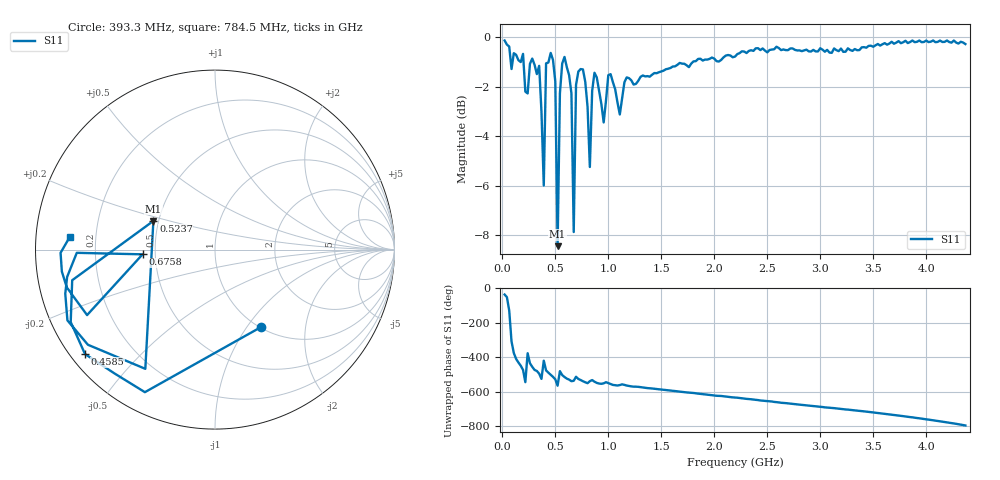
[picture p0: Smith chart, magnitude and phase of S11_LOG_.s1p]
!Keysight Technologies N9923A: A.08.19
!Date: Thursday, 16 January 2020 11:30:00
!TimeZone: (GMT-03:00) Brasilia!Model: N9923A
!Serial: MY51491501
!GPS Latitude:
!GPS Longitude:
!GPS TimeStamp: 0001-01-01 00:00:00Z
!GPS Seconds Since Last Read: 0
!CHECKSUM:1078980270
!Correction: S11(ON U)
!S1P File: Measurement: S11:
# Hz S DB R 50
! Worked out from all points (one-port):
!   201 points, 23.74 MHz to 4.371 GHz, reference 50 ohm
!   lowest |S11| = -8.4 dB at 523.7 MHz (marker M1), VSWR 2.22, Z = 23.4 + j8.73 ohm
!   |S11| at or under -10 dB: nowhere
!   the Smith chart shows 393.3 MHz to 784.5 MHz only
!   S11 on the Smith chart (normalised r, x): 393.3 MHz: 1.01, -1.17; 458.5 MHz: 0.04, -0.35; 523.7 MHz: 0.47, +0.17; 675.8 MHz: 0.42, -0.03; 784.5 MHz: 0.10, +0.04
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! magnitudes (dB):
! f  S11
! 23.74 MHz  -0.1
! 197.6 MHz  -0.7
! 241.1 MHz  -2.3
! 349.8 MHz  -1.2
! 393.3 MHz  -6.0
! 415 MHz  -1.1
! 458.5 MHz  -0.6
! 501.9 MHz  -1.8
! 523.7 MHz  -8.4
! 545.4 MHz  -2.3
! 567.1 MHz  -1.1
! 654.1 MHz  -2.3
! 675.8 MHz  -7.9
! 697.6 MHz  -1.9
! 784.5 MHz  -1.8
! 828 MHz  -5.2
! 849.7 MHz  -2.2
! 871.5 MHz  -1.4
! 958.4 MHz  -3.4
! 1.002 GHz  -1.5
! 1.111 GHz  -3.1
! 1.176 GHz  -1.6
! 1.654 GHz  -1.1
! 2.197 GHz  -0.8
! 2.741 GHz  -0.5
! 3.284 GHz  -0.5
! 3.828 GHz  -0.2
! 4.371 GHz  -0.3
